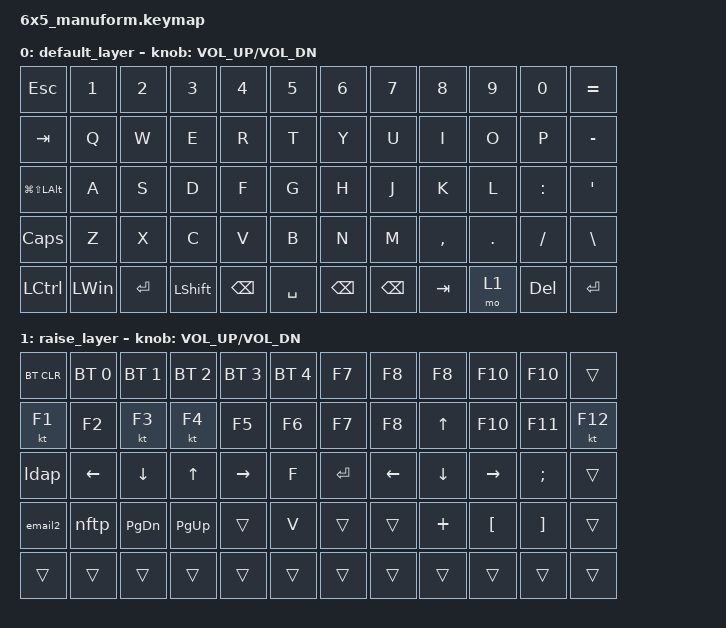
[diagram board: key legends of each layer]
/*
 * Copyright (c) 2020 The ZMK Contributors
 *
 * SPDX-License-Identifier: MIT
 */

#include <behaviors.dtsi>
#include <dt-bindings/zmk/bt.h>
#include <dt-bindings/zmk/keys.h>
#include <dt-bindings/zmk/keys.h>

/ {
    combos {
        compatible = "zmk,combos";

        bt_reset {
            bindings = <&bt BT_CLR_ALL>;
            key-positions = <58 57 0>;
        };
    };

    macros {
        email2: email2 {
            compatible = "zmk,behavior-macro";
            #binding-cells = <0>;
            bindings = <&kp Q &kp N1 &kp U &kp H &kp B &kp F &kp C &kp T &kp AT &kp G &kp M &kp A &kp I &kp L &kp DOT &kp C &kp O &kp M>;
            label = "EMAIL2";
        };

        nftp: pass {
            compatible = "zmk,behavior-macro";
            #binding-cells = <0>;
            bindings = <&kp LS(W) &kp UNDER &kp N1 &kp N3 &kp N8 &kp F &kp K &kp Q &kp N9 &kp N2 &kp N3>;
            label = "PASS";
        };

        ldap: ldap {
            compatible = "zmk,behavior-macro";
            #binding-cells = <0>;
            bindings = <&kp Y &kp A &kp M &kp A &kp D &kp A &kp E &kp D &kp W &kp A &kp R &kp D>;
            label = "LDAP";
        };
    };

    keymap {
        compatible = "zmk,keymap";

        default_layer {
            // ------------------------------------------------------------------------------------------------------------
            // |  ESC   |  1  |  2  |  3   |  4   |  5   |                    |  6   |  7    |  8    |  9   |   0   |   `   |
            // |  TAB   |  Q  |  W  |  E   |  R   |  T   |                    |  Y   |  U    |  I    |  O   |   P   |   -   |
            // |  CTRL  |  A  |  S  |  D   |  F   |  G   |                    |  H   |  J    |  K    |  L   |   ;   |   '   |
            // | SHIFT  |  Z  |  X  |  C   |  V   |  B   |                    |  N   |  M    |  ,    |  .   |   /   | SHIFT |
            // |    2   |  2  | f   | 6    | 4    | 1    |                    | 2    | 1     | w     | s    | n     |  a    |

            bindings = <
&kp ESC               &kp NUMBER_1  &kp NUMBER_2  &kp N3     &kp N4         &kp N5     &kp N6         &kp N7         &kp N8     &kp N9   &kp N0     &kp EQUAL
&kp TAB               &kp Q         &kp W         &kp E      &kp R          &kp T      &kp Y          &kp U          &kp I      &kp O    &kp P      &kp MINUS
&kp LG(LS(LEFT_ALT))  &kp A         &kp S         &kp D      &kp F          &kp G      &kp H          &kp J          &kp K      &kp L    &kp COLON  &kp SQT
&kp CAPS              &kp Z         &kp X         &kp C      &kp V          &kp B      &kp N          &kp M          &kp COMMA  &kp DOT  &kp FSLH   &kp BSLH
&kp LCTRL             &kp LWIN      &kp ENTER     &kp LSHFT  &kp BACKSPACE  &kp SPACE  &kp BACKSPACE  &kp BACKSPACE  &kp TAB    &mo 1    &kp DEL    &kp ENTER
            >;

            sensor-bindings = <&inc_dec_kp C_VOL_UP C_VOL_DN>;
        };

        raise_layer {
            // ------------------------------------------------------------------------------------------------------------
            // |       |     |     |      |      |      |                   |      |       |       |      |       |       |
            // |   `   |  1  |  2  |  3   |  4   |  5   |                   |  6   |   7   |   8   |  9   |   0   |       |
            // |   F1  |  F2 |  F3 |  F4  |  F5  |  F6  |                   |      |   <-  |   v   |  ^   |  ->   |       |
            // |   F7  |  F8 |  F9 |  F10 |  F11 |  F12 |		             |  +   |   -   |   =   |  [   |   ]   |   \   |
            // |     |     |      |      |      |        |                   |       |      |       |       |      |       |

            bindings = <
&bt BT_CLR  &bt BT_SEL 0  &bt BT_SEL 1  &bt BT_SEL 2  &bt BT_SEL 3  &bt BT_SEL 4  &kp F7   &kp F8    &kp F8        &kp F10    &kp F10   &trans
&kt F1      &kp F2        &kt F3        &kt F4        &kp F5        &kp F6        &kp F7   &kp F8    &kp UP_ARROW  &kp F10    &kp F11   &kt F12
&ldap       &kp LEFT      &kp DOWN      &kp UP        &kp RIGHT     &kp F         &kp RET  &kp LEFT  &kp DOWN      &kp RIGHT  &kp SEMI  &trans
&email2     &nftp         &kp PG_DN     &kp PG_UP     &trans        &kp V         &trans   &trans    &kp PLUS      &kp LBKT   &kp RBKT  &trans
&trans      &trans        &trans        &trans        &trans        &trans        &trans   &trans    &trans        &trans     &trans    &trans
            >;

            sensor-bindings = <&inc_dec_kp C_VOL_UP C_VOL_DN>;
        };
    };
};
